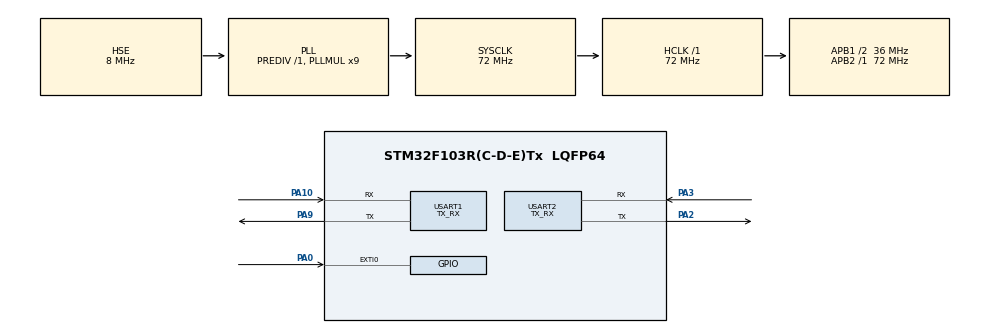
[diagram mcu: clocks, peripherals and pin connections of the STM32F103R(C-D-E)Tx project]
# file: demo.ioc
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Mcu.Family=STM32F1
Mcu.Name=STM32F103R(C-D-E)Tx
Mcu.Package=LQFP64
NVIC.EXTI0_IRQn=true\:0\:0\:false\:false\:true\:true\:true\:true
NVIC.PriorityGroup=NVIC_PRIORITYGROUP_4
PA0-WKUP.GPIO_ModeDefaultEXTI=GPIO_MODE_IT_RISING
PA0-WKUP.GPIO_PuPd=GPIO_PULLDOWN
PA0-WKUP.Signal=GPXTI0
PA10.Mode=Asynchronous
PA10.Signal=USART1_RX
PA13.Mode=Serial_Wire
PA13.Signal=SYS_JTMS-SWDIO
PA14.Mode=Serial_Wire
PA14.Signal=SYS_JTCK-SWCLK
PA2.Mode=Asynchronous
PA2.Signal=USART2_TX
PA3.Mode=Asynchronous
PA3.Signal=USART2_RX
PA9.Mode=Asynchronous
PA9.Signal=USART1_TX
PD0-OSC_IN.Mode=HSE-External-Oscillator
PD0-OSC_IN.Signal=RCC_OSC_IN
PD1-OSC_OUT.Mode=HSE-External-Oscillator
PD1-OSC_OUT.Signal=RCC_OSC_OUT
ProjectManager.HeapSize=0x200
ProjectManager.StackSize=0x400
ProjectManager.TargetToolchain=MDK-ARM V5
RCC.AHBFreq_Value=72000000
RCC.APB1CLKDivider=RCC_HCLK_DIV2
RCC.APB1Freq_Value=36000000
RCC.APB1TimFreq_Value=72000000
RCC.APB2Freq_Value=72000000
RCC.APB2TimFreq_Value=72000000
RCC.HCLKFreq_Value=72000000
RCC.PLLMUL=RCC_PLL_MUL9
RCC.PLLSourceVirtual=RCC_PLLSOURCE_HSE
RCC.SYSCLKFreq_VALUE=72000000
RCC.SYSCLKSource=RCC_SYSCLKSOURCE_PLLCLK
RCC.USBFreq_Value=72000000
USART1.Mode=MODE_TX_RX
USART1.VirtualMode=VM_ASYNC
USART2.Mode=MODE_TX_RX
USART2.VirtualMode=VM_ASYNC
board=custom

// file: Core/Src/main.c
/* USER CODE BEGIN Header */
/**
 ******************************************************************************
 * @file           : main.c
 * @brief          : Main program body
 ******************************************************************************
 * @attention
 *
 * <h2><center>&copy; Copyright (c) 2022 STMicroelectronics.
 * All rights reserved.</center></h2>
 *
 * This software component is licensed by ST under BSD 3-Clause license,
 * the "License"; You may not use this file except in compliance with the
 * License. You may obtain a copy of the License at:
 *                        opensource.org/licenses/BSD-3-Clause
 *
 ******************************************************************************
 */
/* USER CODE END Header */
#include "main.h"
#include "usart.h"
#include "gpio.h"

/* USER CODE BEGIN Includes */
#include "shell.h"
#include "shell_port.h"
/* USER CODE END Includes */

void SystemClock_Config(void);

/* USER CODE BEGIN 0 */

// 在 .map 中查找该函数的地址 + 1 / 或执行下方输出的地址
// sh: exec 0x00000000
void unexport_func(char* tag)
{
    printf("hello %s, unexport function: 0x%p\n", tag, unexport_func);
}

/* USER CODE END 0 */

int main(void)
{
    /* USER CODE BEGIN 1 */
    int localVar;

    /* USER CODE END 1 */

    /* MCU Configuration--------------------------------------------------------*/

    /* Reset of all peripherals, Initializes the Flash interface and the Systick. */
    HAL_Init();

    /* Configure the system clock */
    SystemClock_Config();

    /* Initialize all configured peripherals */
    MX_GPIO_Init();
    MX_USART1_UART_Init();
    MX_USART2_UART_Init();
    /* USER CODE BEGIN 2 */
    unexport_func("uYanki");
    userShellInit();
    /* USER CODE END 2 */

    /* Infinite loop */
    /* USER CODE BEGIN WHILE */
    while (1) {
        shellTask(&shell);
        /* USER CODE END WHILE */

    }
}

void SystemClock_Config(void)
{
    RCC_OscInitTypeDef RCC_OscInitStruct = {0};
    RCC_ClkInitTypeDef RCC_ClkInitStruct = {0};

    /** Initializes the RCC Oscillators according to the specified parameters
     * in the RCC_OscInitTypeDef structure.
     */
    RCC_OscInitStruct.OscillatorType = RCC_OSCILLATORTYPE_HSE;
    RCC_OscInitStruct.HSEState       = RCC_HSE_ON;
    RCC_OscInitStruct.HSEPredivValue = RCC_HSE_PREDIV_DIV1;
    RCC_OscInitStruct.HSIState       = RCC_HSI_ON;
    RCC_OscInitStruct.PLL.PLLState   = RCC_PLL_ON;
    RCC_OscInitStruct.PLL.PLLSource  = RCC_PLLSOURCE_HSE;
    RCC_OscInitStruct.PLL.PLLMUL     = RCC_PLL_MUL9;
    if (HAL_RCC_OscConfig(&RCC_OscInitStruct) != HAL_OK) {
        Error_Handler();
    }

    /** Initializes the CPU, AHB and APB buses clocks
     */
    RCC_ClkInitStruct.ClockType      = RCC_CLOCKTYPE_HCLK | RCC_CLOCKTYPE_SYSCLK | RCC_CLOCKTYPE_PCLK1 | RCC_CLOCKTYPE_PCLK2;
    RCC_ClkInitStruct.SYSCLKSource   = RCC_SYSCLKSOURCE_PLLCLK;
    RCC_ClkInitStruct.AHBCLKDivider  = RCC_SYSCLK_DIV1;
    RCC_ClkInitStruct.APB1CLKDivider = RCC_HCLK_DIV2;
    RCC_ClkInitStruct.APB2CLKDivider = RCC_HCLK_DIV1;

    if (HAL_RCC_ClockConfig(&RCC_ClkInitStruct, FLASH_LATENCY_2) != HAL_OK) {
        Error_Handler();
    }
}

/* USER CODE BEGIN 4 */

///////////////////// admin

SHELL_EXPORT_USER(SHELL_CMD_PERMISSION(11), admin, root, Administrator);

///////////////////// sh: fn_c_fmt 666 'A' "hello world"

int fn_c_fmt(int num, char ch, char* str)
{
    printf("input int: %d, char: %c, string: %s\r\n", num, ch, str);

    return 666;
}

SHELL_EXPORT_CMD(SHELL_CMD_PERMISSION(0) | SHELL_CMD_TYPE(SHELL_TYPE_CMD_FUNC), fn_c_fmt, fn_c_fmt, c fmt func);

///////////////////// sh: fn_main_fmt "hello world"

int fn_main_fmt(int argc, char* argv[])
{
    printf("%dparameter(s)\r\n", argc);
    for (char i = 1; i < argc; i++) {
        printf("%s\r\n", argv[i]);
    }

    return 123;
}

SHELL_EXPORT_CMD(SHELL_CMD_PERMISSION(0) | SHELL_CMD_TYPE(SHELL_TYPE_CMD_MAIN), fn_main_fmt, fn_main_fmt, main fmt func);

///////////////////// sh: varInt , or setVar varInt 1

int var_int1 = 0;
SHELL_EXPORT_VAR(SHELL_CMD_PERMISSION(0) | SHELL_CMD_TYPE(SHELL_TYPE_VAR_INT), varInt1, &var_int1, int 1);

int var_int2 = 1;
SHELL_EXPORT_VAR(SHELL_CMD_PERMISSION(0) | SHELL_CMD_TYPE(SHELL_TYPE_VAR_INT) | SHELL_CMD_READ_ONLY, varInt2, &var_int2, int 2);  // 只读

int var_int3 = 1;
SHELL_EXPORT_VAR(SHELL_CMD_PERMISSION(1) | SHELL_CMD_TYPE(SHELL_TYPE_VAR_INT), varInt3, &var_int3, int 3);

void HAL_GPIO_EXTI_Callback(uint16_t GPIO_Pin)
{
    shellRun(&shell, "varInt3");
}

///////////////////// sh: varStr, or setVar varStr "hello"

char var_str[] = "test string";
SHELL_EXPORT_VAR(SHELL_CMD_PERMISSION(0) | SHELL_CMD_TYPE(SHELL_TYPE_VAR_STRING), varStr, var_str, str);

/* USER CODE END 4 */

void Error_Handler(void)
{
}
